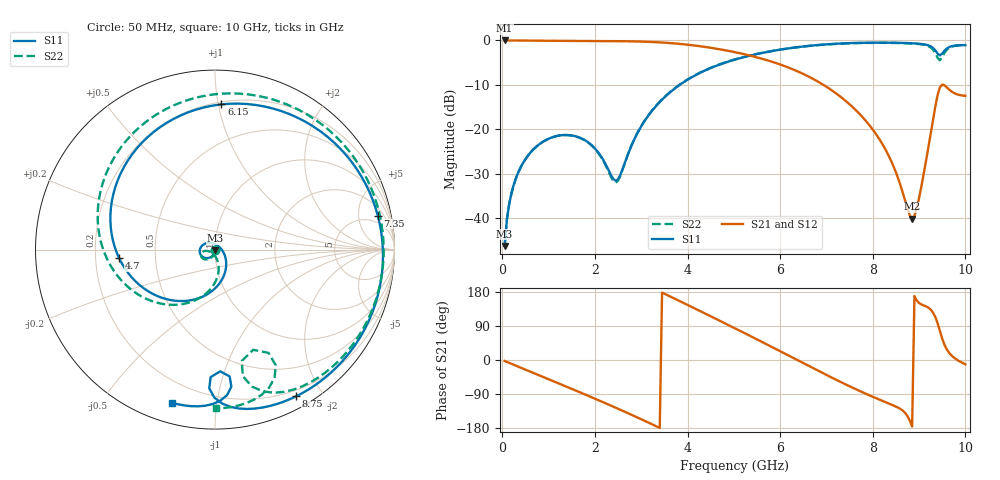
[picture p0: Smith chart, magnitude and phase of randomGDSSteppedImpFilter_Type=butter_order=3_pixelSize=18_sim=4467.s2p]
! freq	dB(S11)	phase(S11)	dB(S12)	phase(S12)
!  dB(S21)	phase(S21)	dB(S22)	phase(S22)
!S-par simulation data
#  GHz  S  DB  R 50
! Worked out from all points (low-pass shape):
!   200 points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, 50 MHz to 10 GHz, reference 50 ohm
!   highest |S21| = 0.00 dB at 50 MHz (marker M1); lowest = -40.1 dB at 8.85 GHz (marker M2)
!   |S21| within 3 dB of the highest: start of sweep to 5.183 GHz
!   lowest |S11| = -46.3 dB at 50 MHz (marker M3), VSWR 1.01, Z = 50 - j0.486 ohm
!   |S11| at or under -10 dB: start of sweep to 3.832 GHz
!   |S22| runs from -46.3 to -0.5 dB; largest |S21 - S12| = 0
!   S11 on the Smith chart (normalised r, x): 50 MHz: 1.00, -0.01; 4.7 GHz: 0.30, -0.04; 6.15 GHz: 0.22, +1.02; 7.35 GHz: 3.19, +8.53; 8.75 GHz: 0.13, -1.69; 10 GHz: 0.09, -0.75
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0.05  -46.26 -92.0  -0.00 -2.6  -0.00 -2.6  -46.32 -91.5
0.2  -34.29 -101.1  -0.01 -10.2  -0.01 -10.2  -34.35 -99.0
0.55  -25.98 -121.1  -0.03 -28.0  -0.03 -28.0  -26.02 -115.3
1.1  -21.74 -152.9  -0.09 -55.9  -0.09 -55.9  -21.74 -140.3
1.75  -22.27 165.8  -0.13 -89.0  -0.13 -89.0  -22.31 -166.2
2.45  -31.60 55.2  -0.15 -125.9  -0.15 -125.9  -32.01 -127.5
3.4  -13.86 -86.2  -0.43 -179.2  -0.43 -179.2  -13.78 -93.6
4.1  -8.24 -134.6  -1.07 139.5  -1.07 139.5  -8.17 -128.0
4.7  -5.40 -175.1  -1.99 103.3  -1.99 103.3  -5.34 -159.8
5.05  -4.23 161.4  -2.70 82.1  -2.70 82.1  -4.18 -178.8
5.55  -2.95 127.7  -3.95 51.3  -3.95 51.3  -2.91 153.1
6.15  -1.83 87.5  -5.98 13.7  -5.98 13.7  -1.83 117.9
6.7  -1.13 51.6  -8.59 -20.9  -8.59 -20.9  -1.16 84.0
7.35  -0.66 11.8  -13.06 -60.6  -13.06 -60.6  -0.70 43.2
7.85  -0.51 -16.1  -18.10 -89.1  -18.10 -89.1  -0.56 12.4
8.35  -0.51 -41.7  -26.09 -115.0  -26.09 -115.0  -0.55 -17.0
8.75  -0.59 -61.1  -37.91 -148.1  -37.91 -148.1  -0.64 -39.7
8.85  -0.64 -65.9  -40.12 -175.6  -40.12 -175.6  -0.69 -45.5
9.25  -1.32 -87.3  -21.05 133.0  -21.05 133.0  -1.57 -71.3
9.45  -3.37 -87.5  -10.54 76.4  -10.54 76.4  -4.47 -69.1
9.6  -1.79 -85.3  -10.58 27.6  -10.58 27.6  -2.06 -65.1
10  -1.05 -105.7  -12.46 -11.4  -12.46 -11.4  -1.06 -89.5
